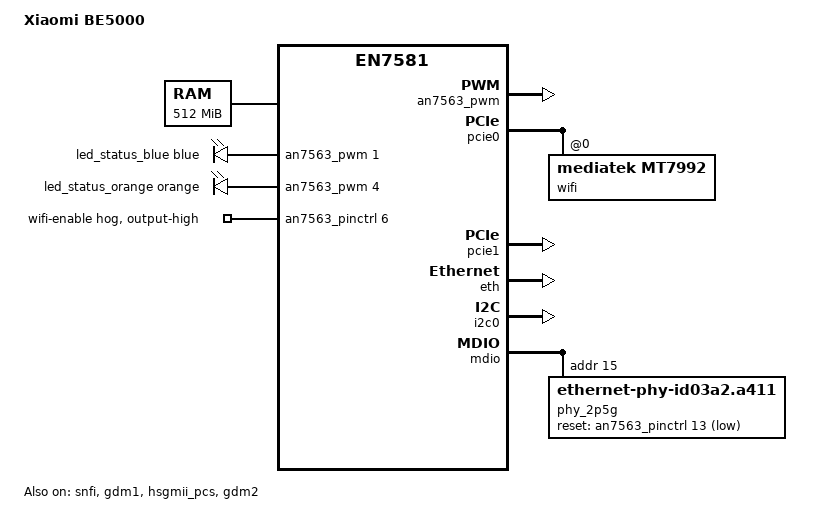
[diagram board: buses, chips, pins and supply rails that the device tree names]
// SPDX-License-Identifier: (GPL-2.0-only OR BSD-2-Clause)
/dts-v1/;

/* Bootloader installs ATF here (BL31 resident region, ~256 KiB). */
/memreserve/ 0x80000000 0x88000;

#include <dt-bindings/leds/common.h>
#include <dt-bindings/gpio/gpio.h>
#include <dt-bindings/input/input.h>
#include "an7563.dtsi"

/ {
	model = "Xiaomi BE5000";
	compatible = "xiaomi,be5000", "airoha,an7563", "airoha,en7581";

	aliases {
		led-boot = &led_status_orange;
		led-failsafe = &led_status_orange;
		led-running = &led_status_blue;
		led-upgrade = &led_status_orange;
		serial0 = &uart1;
	};

	chosen {
		bootargs = "console=ttyS0,115200 earlycon";
		stdout-path = "serial0:115200n8";
	};

	memory@80000000 {
		device_type = "memory";
		reg = <0x80000000 0x20000000>;
	};

	pwm-leds {
		compatible = "pwm-leds";
		pinctrl-names = "default";
		pinctrl-0 = <&status_led_pins>;

		led_status_blue: led-0 {
			color = <LED_COLOR_ID_BLUE>;
			function = LED_FUNCTION_STATUS;
			pwms = <&an7563_pwm 1 4000000 0>;
			max-brightness = <255>;
			active-low;
		};

		led_status_orange: led-1 {
			color = <LED_COLOR_ID_ORANGE>;
			function = LED_FUNCTION_STATUS;
			pwms = <&an7563_pwm 4 4000000 0>;
			max-brightness = <255>;
			active-low;
			default-state = "on";
		};
	};
};

&an7563_pinctrl {
	gpio-ranges = <&an7563_pinctrl 0 0 28>;

	status_led_pins: status-led-pins {
		function = "pwm";
		pins = "gpio1", "gpio4";
		output-enable;
	};

	wifi-enable-hog {
		/* Stock BL2 drives GPIO 6 high from its embedded environment. */
		gpio-hog;
		gpios = <6 GPIO_ACTIVE_HIGH>;
		output-high;
		line-name = "wifi-enable";
	};
};

&an7563_pwm {
	status = "okay";
};

&pcie0 {
	compatible = "airoha,an7563-pcie";
	ranges = <0x82000000 0 0x20000000 0x20000000 0 0x4000000>;
	status = "okay";

	pcie@0,0 {
		device_type = "pci";
		reg = <0x0000 0 0 0 0>;
		#address-cells = <3>;
		#size-cells = <2>;
		ranges;

		wifi@0,0 {
			compatible = "mediatek,mt7992";
			reg = <0x0000 0 0 0 0>;
			nvmem-cells = <&wifi_eeprom>;
			nvmem-cell-names = "eeprom";
		};
	};
};

&pcie1 {
	compatible = "airoha,an7563-pcie";
	ranges = <0x82000000 0 0x24000000 0x24000000 0 0x4000000>;
	status = "okay";
};

&snfi {
	status = "okay";
};

&eth {
	status = "okay";
};

&gdm1 {
	status = "okay";
};

&i2c0 {
	status = "okay";
};

&spi_nand {
	airoha,bmt;

	partitions {
		compatible = "fixed-partitions";
		#address-cells = <1>;
		#size-cells = <1>;

		partition@0 {
			label = "u-boot";
			reg = <0x0 0x7c000>;
			read-only;
		};

		partition@7c000 {
			label = "u-boot-env";
			reg = <0x7c000 0x4000>;
		};

		partition@80000 {
			label = "art";
			reg = <0x80000 0x40000>;
			read-only;

			nvmem-layout {
				compatible = "fixed-layout";
				#address-cells = <1>;
				#size-cells = <1>;

				wifi_eeprom: eeprom@20000 {
					reg = <0x20000 0x1e00>;
				};
			};
		};

		partition@c0000 {
			compatible = "denx,fit";
			label = "firmware";
			reg = <0xc0000 0x4000000>;
		};
	};
};

&hsgmii_pcs {
	status = "okay";
};

&mdio {
	status = "okay";

	phy_2p5g: ethernet-phy@f {
		compatible = "ethernet-phy-id03a2.a411";
		reg = <15>;
		reset-gpios = <&an7563_pinctrl 13 GPIO_ACTIVE_LOW>;
		reset-assert-us = <1000000>;
		reset-deassert-us = <100000>;
	};
};

&gdm2 {
	status = "okay";
	phy-handle = <&phy_2p5g>;
};
